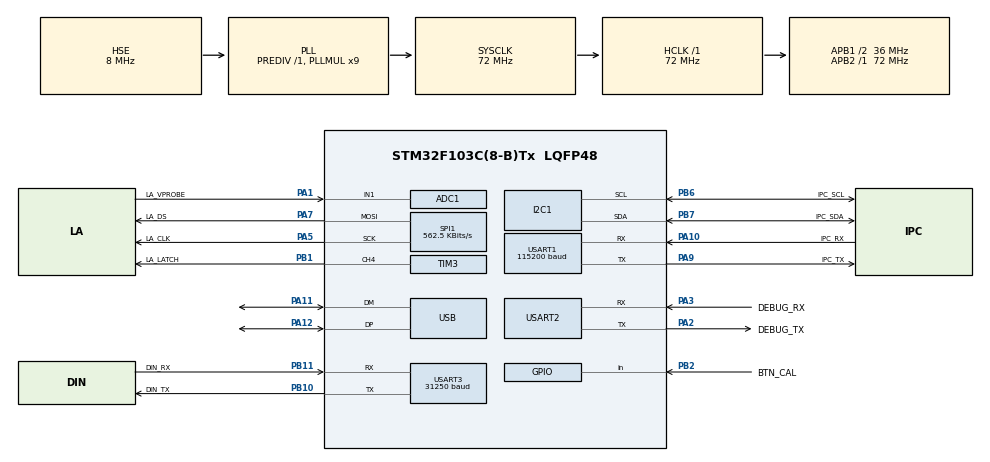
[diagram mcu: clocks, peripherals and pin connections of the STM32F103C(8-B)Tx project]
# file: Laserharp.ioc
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ADC1.Channel-6\#ChannelRegularConversion=ADC_CHANNEL_1
ADC1.NbrOfConversion=1
ADC1.NbrOfConversionFlag=1
ADC1.Rank-6\#ChannelRegularConversion=1
ADC1.SamplingTime-6\#ChannelRegularConversion=ADC_SAMPLETIME_71CYCLES_5
ADC1.master=1
Dma.Request0=TIM3_CH4/UP
Dma.TIM3_CH4/UP.0.Direction=DMA_MEMORY_TO_PERIPH
Dma.TIM3_CH4/UP.0.Instance=DMA1_Channel3
Dma.TIM3_CH4/UP.0.MemDataAlignment=DMA_MDATAALIGN_HALFWORD
Dma.TIM3_CH4/UP.0.MemInc=DMA_MINC_ENABLE
Dma.TIM3_CH4/UP.0.Mode=DMA_CIRCULAR
Dma.TIM3_CH4/UP.0.PeriphDataAlignment=DMA_PDATAALIGN_HALFWORD
Dma.TIM3_CH4/UP.0.PeriphInc=DMA_PINC_DISABLE
Dma.TIM3_CH4/UP.0.Priority=DMA_PRIORITY_HIGH
FREERTOS.BinarySemaphores01=printfSemaphore,Dynamic,NULL
FREERTOS.Events01=globalStatus,Dynamic,NULL
FREERTOS.Queues01=usbRxData,32,midi_packet_t,0,Dynamic,NULL,NULL;ipcRxData,32,ipc_packet_t,0,Dynamic,NULL,NULL
FREERTOS.Tasks01=defaultTask,16,256,StartDefaultTask,Default,NULL,Dynamic,NULL,NULL;usbReceiveTask,24,128,StartUsbReceiveTask,Default,NULL,Dynamic,NULL,NULL;ipcReceiveTask,24,128,StartIpcReceiveTask,Default,NULL,Dynamic,NULL,NULL;buttonTask,16,128,StartButtonTask,Default,NULL,Dynamic,NULL,NULL
FREERTOS.configTICK_RATE_HZ=1000
FREERTOS.configTOTAL_HEAP_SIZE=8192
FREERTOS.configUSE_PREEMPTION=1
Mcu.Family=STM32F1
Mcu.Name=STM32F103C(8-B)Tx
Mcu.Package=LQFP48
Mcu.UserConstants=HUART_DEBUG,huart2;HUART_DIN,huart3;LA_TRANSFER_PRESCALAR,128;HUART_IPC,huart1;LA_FADE_TICK_RATE,30
NVIC.DMA1_Channel3_IRQn=true\:5\:0\:false\:false\:true\:true\:false\:true\:true
NVIC.PriorityGroup=NVIC_PRIORITYGROUP_4
NVIC.TIM1_UP_IRQn=true\:15\:0\:false\:false\:true\:false\:false\:true\:true
NVIC.TIM2_IRQn=true\:5\:0\:false\:false\:true\:true\:true\:true\:true
NVIC.TimeBase=TIM1_UP_IRQn
NVIC.TimeBaseIP=TIM1
NVIC.USART1_IRQn=true\:5\:0\:false\:false\:true\:true\:true\:true\:true
NVIC.USART2_IRQn=true\:5\:0\:false\:false\:true\:true\:true\:true\:true
NVIC.USART3_IRQn=true\:5\:0\:false\:false\:true\:true\:true\:true\:true
NVIC.USB_LP_CAN1_RX0_IRQn=true\:5\:0\:false\:false\:true\:true\:false\:true\:true
PA1.GPIO_Label=LA_VPROBE
PA1.Signal=ADCx_IN1
PA10.GPIO_Label=IPC_RX
PA10.Mode=Asynchronous
PA10.Signal=USART1_RX
PA11.Mode=Device
PA11.Signal=USB_DM
PA12.Mode=Device
PA12.Signal=USB_DP
PA13.Mode=Serial_Wire
PA13.Signal=SYS_JTMS-SWDIO
PA14.Mode=Serial_Wire
PA14.Signal=SYS_JTCK-SWCLK
PA2.GPIO_Label=DEBUG_TX
PA2.Mode=Asynchronous
PA2.Signal=USART2_TX
PA3.GPIO_Label=DEBUG_RX
PA3.Mode=Asynchronous
PA3.Signal=USART2_RX
PA5.GPIO_Label=LA_CLK
PA5.Mode=TX_Only_Simplex_Unidirect_Master
PA5.Signal=SPI1_SCK
PA7.GPIO_Label=LA_DS
PA7.Mode=TX_Only_Simplex_Unidirect_Master
PA7.Signal=SPI1_MOSI
PA9.GPIO_Label=IPC_TX
PA9.Mode=Asynchronous
PA9.Signal=USART1_TX
PB1.GPIO_Label=LA_LATCH
PB1.Signal=S_TIM3_CH4
PB10.GPIO_Label=DIN_TX
PB10.Mode=Asynchronous
PB10.Signal=USART3_TX
PB11.GPIO_Label=DIN_RX
PB11.Mode=Asynchronous
PB11.Signal=USART3_RX
PB2.GPIO_Label=BTN_CAL
PB2.Signal=GPIO_Input
PB6.GPIO_Label=IPC_SCL
PB6.Mode=I2C
PB6.Signal=I2C1_SCL
PB7.GPIO_Label=IPC_SDA
PB7.Mode=I2C
PB7.Signal=I2C1_SDA
PD0-OSC_IN.Mode=HSE-External-Oscillator
PD0-OSC_IN.Signal=RCC_OSC_IN
PD1-OSC_OUT.Mode=HSE-External-Oscillator
PD1-OSC_OUT.Signal=RCC_OSC_OUT
ProjectManager.HeapSize=0x400
ProjectManager.StackSize=0x800
ProjectManager.TargetToolchain=Makefile
RCC.ADCPresc=RCC_ADCPCLK2_DIV6
RCC.AHBFreq_Value=72000000
RCC.APB1CLKDivider=RCC_HCLK_DIV2
RCC.APB1Freq_Value=36000000
RCC.APB1TimFreq_Value=72000000
RCC.APB2Freq_Value=72000000
RCC.APB2TimFreq_Value=72000000
RCC.HCLKFreq_Value=72000000
RCC.PLLMUL=RCC_PLL_MUL9
RCC.PLLSourceVirtual=RCC_PLLSOURCE_HSE
RCC.SYSCLKFreq_VALUE=72000000
RCC.SYSCLKSource=RCC_SYSCLKSOURCE_PLLCLK
RCC.USBFreq_Value=48000000
RCC.USBPrescaler=RCC_USBCLKSOURCE_PLL_DIV1_5
SH.ADCx_IN1.0=ADC1_IN1,IN1
SH.S_TIM3_CH4.0=TIM3_CH4,Output Compare4 CH4
SPI1.BaudRatePrescaler=SPI_BAUDRATEPRESCALER_128
SPI1.CalculateBaudRate=562.5 KBits/s
SPI1.DataSize=SPI_DATASIZE_16BIT
SPI1.Direction=SPI_DIRECTION_2LINES
SPI1.FirstBit=SPI_FIRSTBIT_MSB
SPI1.Mode=SPI_MODE_MASTER
SPI1.VirtualType=VM_MASTER
TIM2.Period=(10000 / LA_FADE_TICK_RATE) - 1
TIM2.Prescaler=7200 - 1
TIM3.Channel-Output\ Compare4\ CH4=TIM_CHANNEL_4
TIM3.OCMode_4=TIM_OCMODE_TOGGLE
TIM3.OCPolarity_4=TIM_OCPOLARITY_LOW
TIM3.Period=18 - 1
TIM3.Prescaler=LA_TRANSFER_PRESCALAR - 1
TIM3.TIM_MasterOutputTrigger=TIM_TRGO_UPDATE
USART1.BaudRate=115200
USART1.VirtualMode=VM_ASYNC
USART2.VirtualMode=VM_ASYNC
USART3.BaudRate=31250
USART3.VirtualMode=VM_ASYNC
USB_DEVICE.CLASS_NAME_FS=HID
USB_DEVICE.CONFIGURATION_STRING_HID_FS=MIDI Config
USB_DEVICE.INTERFACE_STRING_HID_FS=MIDI Interface
USB_DEVICE.LANGID_STRING=1033
USB_DEVICE.MANUFACTURER_STRING=Amon Benson
USB_DEVICE.PID_HID_FS=0xC0B0
USB_DEVICE.PRODUCT_STRING_HID_FS=Laser Harp
USB_DEVICE.VID=0x1209
USB_DEVICE.VirtualMode=Hid
USB_DEVICE.VirtualModeFS=Hid_FS
VP_FREERTOS_VS_CMSIS_V2.Mode=CMSIS_V2
VP_SYS_VS_tim1.Mode=TIM1
VP_TIM2_VS_ClockSourceINT.Mode=Internal
VP_TIM3_VS_ClockSourceINT.Mode=Internal
VP_USB_DEVICE_VS_USB_DEVICE_HID_FS.Mode=HID_FS
board=custom

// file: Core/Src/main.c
/* USER CODE BEGIN Header */
/**
 ******************************************************************************
 * @file           : main.c
 * @brief          : Main program body
 ******************************************************************************
 * @attention
 *
 * Copyright (c) 2024 STMicroelectronics.
 * All rights reserved.
 *
 * This software is licensed under terms that can be found in the LICENSE file
 * in the root directory of this software component.
 * If no LICENSE file comes with this software, it is provided AS-IS.
 *
 ******************************************************************************
 */
/* USER CODE END Header */
#include "main.h"
#include "cmsis_os.h"
#include "usb_device.h"

/* USER CODE BEGIN Includes */
#include "animation.h"
#include "drivers/ipc.h"
#include "drivers/laser_array.h"
#include "drivers/midi_usb.h"
#include "log.h"
#include "midi_types.h"
#include "stm32f1xx_hal_adc.h"
#include "usbd_midi.h"
#include <stdbool.h>
/* USER CODE END Includes */

ADC_HandleTypeDef hadc1;

I2C_HandleTypeDef hi2c1;

SPI_HandleTypeDef hspi1;

TIM_HandleTypeDef htim2;
TIM_HandleTypeDef htim3;
DMA_HandleTypeDef hdma_tim3_ch4_up;

UART_HandleTypeDef huart1;
UART_HandleTypeDef huart2;
UART_HandleTypeDef huart3;

/* Definitions for defaultTask */
osThreadId_t defaultTaskHandle;
const osThreadAttr_t defaultTask_attributes = {
    .name = "defaultTask",
    .stack_size = 256 * 4,
    .priority = (osPriority_t) osPriorityBelowNormal,
};
/* Definitions for usbReceiveTask */
osThreadId_t usbReceiveTaskHandle;
const osThreadAttr_t usbReceiveTask_attributes = {
    .name = "usbReceiveTask",
    .stack_size = 128 * 4,
    .priority = (osPriority_t) osPriorityNormal,
};
/* Definitions for ipcReceiveTask */
osThreadId_t ipcReceiveTaskHandle;
const osThreadAttr_t ipcReceiveTask_attributes = {
    .name = "ipcReceiveTask",
    .stack_size = 128 * 4,
    .priority = (osPriority_t) osPriorityNormal,
};
/* Definitions for buttonTask */
osThreadId_t buttonTaskHandle;
const osThreadAttr_t buttonTask_attributes = {
    .name = "buttonTask",
    .stack_size = 128 * 4,
    .priority = (osPriority_t) osPriorityBelowNormal,
};
/* Definitions for usbRxData */
osMessageQueueId_t usbRxDataHandle;
const osMessageQueueAttr_t usbRxData_attributes = { .name = "usbRxData" };
/* Definitions for ipcRxData */
osMessageQueueId_t ipcRxDataHandle;
const osMessageQueueAttr_t ipcRxData_attributes = { .name = "ipcRxData" };
/* Definitions for printfSemaphore */
osSemaphoreId_t printfSemaphoreHandle;
const osSemaphoreAttr_t printfSemaphore_attributes = { .name = "printfSemaphore" };
/* Definitions for globalStatus */
osEventFlagsId_t globalStatusHandle;
const osEventFlagsAttr_t globalStatus_attributes = { .name = "globalStatus" };
/* USER CODE BEGIN PV */
laser_array_t laser_array;
animator_t animator;

uint8_t stored_brightness[LA_NUM_DIODES];
/* USER CODE END PV */

void SystemClock_Config(void);
static void MX_GPIO_Init(void);
static void MX_DMA_Init(void);
static void MX_USART1_UART_Init(void);
static void MX_USART2_UART_Init(void);
static void MX_USART3_UART_Init(void);
static void MX_SPI1_Init(void);
static void MX_TIM2_Init(void);
static void MX_TIM3_Init(void);
static void MX_I2C1_Init(void);
static void MX_ADC1_Init(void);
void StartDefaultTask(void *argument);
void StartUsbReceiveTask(void *argument);
void StartIpcReceiveTask(void *argument);
void StartButtonTask(void *argument);

/* USER CODE BEGIN PFP */
int _write(int file, char *ptr, int len);
void USBD_MIDI_DataInHandler(uint8_t *usb_rx_buffer, uint8_t usb_rx_buffer_length);
/* USER CODE END PFP */

/* USER CODE BEGIN 0 */
int _write(int file, char *ptr, int len) {
    osSemaphoreAcquire(printfSemaphoreHandle, osWaitForever);
    HAL_UART_Transmit(&huart2, (uint8_t *) ptr, len, 0xFFFF);
    osSemaphoreRelease(printfSemaphoreHandle);

    return len;
}

static bool is_btn_cal_pressed(void) {
    return HAL_GPIO_ReadPin(BTN_CAL_GPIO_Port, BTN_CAL_Pin) == GPIO_PIN_RESET;
}
#define BTN_STATES 3

// void HAL_UARTEx_RxEventCallback(UART_HandleTypeDef *huart, uint16_t Size) {
//     ipc_driver_HAL_UARTEx_RxEventCallback(huart, Size);
// }

void HAL_UART_RxCpltCallback(UART_HandleTypeDef *huart) {
    ipc_driver_HAL_UART_RxCpltCallback(huart);
}
/* USER CODE END 0 */

int main(void) {

    /* MCU Configuration--------------------------------------------------------*/

    /* Reset of all peripherals, Initializes the Flash interface and the Systick. */
    HAL_Init();

    /* Configure the system clock */
    SystemClock_Config();

    /* Initialize all configured peripherals */
    MX_GPIO_Init();
    MX_DMA_Init();
    MX_USART1_UART_Init();
    MX_USART2_UART_Init();
    MX_USART3_UART_Init();
    MX_SPI1_Init();
    MX_TIM2_Init();
    MX_TIM3_Init();
    MX_I2C1_Init();
    MX_ADC1_Init();

    /* Init scheduler */
    osKernelInitialize();

    /* Create the semaphores(s) */
    /* creation of printfSemaphore */
    printfSemaphoreHandle = osSemaphoreNew(1, 0, &printfSemaphore_attributes);

    /* USER CODE BEGIN RTOS_SEMAPHORES */
    osSemaphoreRelease(printfSemaphoreHandle);
    /* USER CODE END RTOS_SEMAPHORES */

    /* Create the queue(s) */
    /* creation of usbRxData */
    usbRxDataHandle = osMessageQueueNew(32, sizeof(midi_packet_t), &usbRxData_attributes);

    /* creation of ipcRxData */
    ipcRxDataHandle = osMessageQueueNew(32, sizeof(ipc_packet_t), &ipcRxData_attributes);

    /* Create the thread(s) */
    /* creation of defaultTask */
    defaultTaskHandle = osThreadNew(StartDefaultTask, NULL, &defaultTask_attributes);

    /* creation of usbReceiveTask */
    usbReceiveTaskHandle = osThreadNew(StartUsbReceiveTask, NULL, &usbReceiveTask_attributes);

    /* creation of ipcReceiveTask */
    ipcReceiveTaskHandle = osThreadNew(StartIpcReceiveTask, NULL, &ipcReceiveTask_attributes);

    /* creation of buttonTask */
    buttonTaskHandle = osThreadNew(StartButtonTask, NULL, &buttonTask_attributes);

    /* Create the event(s) */
    /* creation of globalStatus */
    globalStatusHandle = osEventFlagsNew(&globalStatus_attributes);

    /* USER CODE BEGIN RTOS_EVENTS */

    // initialize drivers
    midi_usb_driver_init(usbRxDataHandle);
    ipc_driver_init(&huart1, ipcRxDataHandle);

    const laser_array_config_t laser_array_config = {
        .hspi = &hspi1,
        .htim_transfer = &htim3,
        .htim_fade = &htim2,
        .rclk_channel = TIM_CHANNEL_4,
    };
    laser_array_init(&laser_array, &laser_array_config);

    // initialize animator (note: the boot animation is started in the default task)
    const animator_config_t animator_config = {
        .laser_array = &laser_array,
    };
    animator_init(&animator, &animator_config);
    /* USER CODE END RTOS_EVENTS */

    /* Start scheduler */
    osKernelStart();

    /* We should never get here as control is now taken by the scheduler */
    /* Infinite loop */
    while (1) {

    }
}

void SystemClock_Config(void) {
    RCC_OscInitTypeDef RCC_OscInitStruct = { 0 };
    RCC_ClkInitTypeDef RCC_ClkInitStruct = { 0 };
    RCC_PeriphCLKInitTypeDef PeriphClkInit = { 0 };

    /** Initializes the RCC Oscillators according to the specified parameters
     * in the RCC_OscInitTypeDef structure.
     */
    RCC_OscInitStruct.OscillatorType = RCC_OSCILLATORTYPE_HSE;
    RCC_OscInitStruct.HSEState = RCC_HSE_ON;
    RCC_OscInitStruct.HSEPredivValue = RCC_HSE_PREDIV_DIV1;
    RCC_OscInitStruct.HSIState = RCC_HSI_ON;
    RCC_OscInitStruct.PLL.PLLState = RCC_PLL_ON;
    RCC_OscInitStruct.PLL.PLLSource = RCC_PLLSOURCE_HSE;
    RCC_OscInitStruct.PLL.PLLMUL = RCC_PLL_MUL9;
    if (HAL_RCC_OscConfig(&RCC_OscInitStruct) != HAL_OK) {
        Error_Handler();
    }

    /** Initializes the CPU, AHB and APB buses clocks
     */
    RCC_ClkInitStruct.ClockType = RCC_CLOCKTYPE_HCLK | RCC_CLOCKTYPE_SYSCLK | RCC_CLOCKTYPE_PCLK1 | RCC_CLOCKTYPE_PCLK2;
    RCC_ClkInitStruct.SYSCLKSource = RCC_SYSCLKSOURCE_PLLCLK;
    RCC_ClkInitStruct.AHBCLKDivider = RCC_SYSCLK_DIV1;
    RCC_ClkInitStruct.APB1CLKDivider = RCC_HCLK_DIV2;
    RCC_ClkInitStruct.APB2CLKDivider = RCC_HCLK_DIV1;

    if (HAL_RCC_ClockConfig(&RCC_ClkInitStruct, FLASH_LATENCY_2) != HAL_OK) {
        Error_Handler();
    }
    PeriphClkInit.PeriphClockSelection = RCC_PERIPHCLK_ADC | RCC_PERIPHCLK_USB;
    PeriphClkInit.AdcClockSelection = RCC_ADCPCLK2_DIV6;
    PeriphClkInit.UsbClockSelection = RCC_USBCLKSOURCE_PLL_DIV1_5;
    if (HAL_RCCEx_PeriphCLKConfig(&PeriphClkInit) != HAL_OK) {
        Error_Handler();
    }
}

static void MX_ADC1_Init(void) {

    ADC_ChannelConfTypeDef sConfig = { 0 };

    /** Common config
     */
    hadc1.Instance = ADC1;
    hadc1.Init.ScanConvMode = ADC_SCAN_DISABLE;
    hadc1.Init.ContinuousConvMode = DISABLE;
    hadc1.Init.DiscontinuousConvMode = DISABLE;
    hadc1.Init.ExternalTrigConv = ADC_SOFTWARE_START;
    hadc1.Init.DataAlign = ADC_DATAALIGN_RIGHT;
    hadc1.Init.NbrOfConversion = 1;
    if (HAL_ADC_Init(&hadc1) != HAL_OK) {
        Error_Handler();
    }

    /** Configure Regular Channel
     */
    sConfig.Channel = ADC_CHANNEL_1;
    sConfig.Rank = ADC_REGULAR_RANK_1;
    sConfig.SamplingTime = ADC_SAMPLETIME_71CYCLES_5;
    if (HAL_ADC_ConfigChannel(&hadc1, &sConfig) != HAL_OK) {
        Error_Handler();
    }
}

static void MX_I2C1_Init(void) {

    hi2c1.Instance = I2C1;
    hi2c1.Init.ClockSpeed = 100000;
    hi2c1.Init.DutyCycle = I2C_DUTYCYCLE_2;
    hi2c1.Init.OwnAddress1 = 0;
    hi2c1.Init.AddressingMode = I2C_ADDRESSINGMODE_7BIT;
    hi2c1.Init.DualAddressMode = I2C_DUALADDRESS_DISABLE;
    hi2c1.Init.OwnAddress2 = 0;
    hi2c1.Init.GeneralCallMode = I2C_GENERALCALL_DISABLE;
    hi2c1.Init.NoStretchMode = I2C_NOSTRETCH_DISABLE;
    if (HAL_I2C_Init(&hi2c1) != HAL_OK) {
        Error_Handler();
    }
}

static void MX_SPI1_Init(void) {

    /* SPI1 parameter configuration*/
    hspi1.Instance = SPI1;
    hspi1.Init.Mode = SPI_MODE_MASTER;
    hspi1.Init.Direction = SPI_DIRECTION_2LINES;
    hspi1.Init.DataSize = SPI_DATASIZE_16BIT;
    hspi1.Init.CLKPolarity = SPI_POLARITY_LOW;
    hspi1.Init.CLKPhase = SPI_PHASE_1EDGE;
    hspi1.Init.NSS = SPI_NSS_SOFT;
    hspi1.Init.BaudRatePrescaler = SPI_BAUDRATEPRESCALER_128;
    hspi1.Init.FirstBit = SPI_FIRSTBIT_MSB;
    hspi1.Init.TIMode = SPI_TIMODE_DISABLE;
    hspi1.Init.CRCCalculation = SPI_CRCCALCULATION_DISABLE;
    hspi1.Init.CRCPolynomial = 10;
    if (HAL_SPI_Init(&hspi1) != HAL_OK) {
        Error_Handler();
    }
}

static void MX_TIM2_Init(void) {

    TIM_ClockConfigTypeDef sClockSourceConfig = { 0 };
    TIM_MasterConfigTypeDef sMasterConfig = { 0 };

    htim2.Instance = TIM2;
    htim2.Init.Prescaler = 7200 - 1;
    htim2.Init.CounterMode = TIM_COUNTERMODE_UP;
    htim2.Init.Period = (10000 / LA_FADE_TICK_RATE) - 1;
    htim2.Init.ClockDivision = TIM_CLOCKDIVISION_DIV1;
    htim2.Init.AutoReloadPreload = TIM_AUTORELOAD_PRELOAD_DISABLE;
    if (HAL_TIM_Base_Init(&htim2) != HAL_OK) {
        Error_Handler();
    }
    sClockSourceConfig.ClockSource = TIM_CLOCKSOURCE_INTERNAL;
    if (HAL_TIM_ConfigClockSource(&htim2, &sClockSourceConfig) != HAL_OK) {
        Error_Handler();
    }
    sMasterConfig.MasterOutputTrigger = TIM_TRGO_RESET;
    sMasterConfig.MasterSlaveMode = TIM_MASTERSLAVEMODE_DISABLE;
    if (HAL_TIMEx_MasterConfigSynchronization(&htim2, &sMasterConfig) != HAL_OK) {
        Error_Handler();
    }
}

static void MX_TIM3_Init(void) {

    TIM_ClockConfigTypeDef sClockSourceConfig = { 0 };
    TIM_MasterConfigTypeDef sMasterConfig = { 0 };
    TIM_OC_InitTypeDef sConfigOC = { 0 };

    htim3.Instance = TIM3;
    htim3.Init.Prescaler = LA_TRANSFER_PRESCALAR - 1;
    htim3.Init.CounterMode = TIM_COUNTERMODE_UP;
    htim3.Init.Period = 18 - 1;
    htim3.Init.ClockDivision = TIM_CLOCKDIVISION_DIV1;
    htim3.Init.AutoReloadPreload = TIM_AUTORELOAD_PRELOAD_DISABLE;
    if (HAL_TIM_Base_Init(&htim3) != HAL_OK) {
        Error_Handler();
    }
    sClockSourceConfig.ClockSource = TIM_CLOCKSOURCE_INTERNAL;
    if (HAL_TIM_ConfigClockSource(&htim3, &sClockSourceConfig) != HAL_OK) {
        Error_Handler();
    }
    if (HAL_TIM_OC_Init(&htim3) != HAL_OK) {
        Error_Handler();
    }
    sMasterConfig.MasterOutputTrigger = TIM_TRGO_UPDATE;
    sMasterConfig.MasterSlaveMode = TIM_MASTERSLAVEMODE_DISABLE;
    if (HAL_TIMEx_MasterConfigSynchronization(&htim3, &sMasterConfig) != HAL_OK) {
        Error_Handler();
    }
    sConfigOC.OCMode = TIM_OCMODE_TOGGLE;
    sConfigOC.Pulse = 0;
    sConfigOC.OCPolarity = TIM_OCPOLARITY_LOW;
    sConfigOC.OCFastMode = TIM_OCFAST_DISABLE;
    if (HAL_TIM_OC_ConfigChannel(&htim3, &sConfigOC, TIM_CHANNEL_4) != HAL_OK) {
        Error_Handler();
    }
    HAL_TIM_MspPostInit(&htim3);
}

static void MX_USART1_UART_Init(void) {

    huart1.Instance = USART1;
    huart1.Init.BaudRate = 115200;
    huart1.Init.WordLength = UART_WORDLENGTH_8B;
    huart1.Init.StopBits = UART_STOPBITS_1;
    huart1.Init.Parity = UART_PARITY_NONE;
    huart1.Init.Mode = UART_MODE_TX_RX;
    huart1.Init.HwFlowCtl = UART_HWCONTROL_NONE;
    huart1.Init.OverSampling = UART_OVERSAMPLING_16;
    if (HAL_UART_Init(&huart1) != HAL_OK) {
        Error_Handler();
    }
}

static void MX_USART2_UART_Init(void) {

    huart2.Instance = USART2;
    huart2.Init.BaudRate = 115200;
    huart2.Init.WordLength = UART_WORDLENGTH_8B;
    huart2.Init.StopBits = UART_STOPBITS_1;
    huart2.Init.Parity = UART_PARITY_NONE;
    huart2.Init.Mode = UART_MODE_TX_RX;
    huart2.Init.HwFlowCtl = UART_HWCONTROL_NONE;
    huart2.Init.OverSampling = UART_OVERSAMPLING_16;
    if (HAL_UART_Init(&huart2) != HAL_OK) {
        Error_Handler();
    }
}

static void MX_USART3_UART_Init(void) {

    huart3.Instance = USART3;
    huart3.Init.BaudRate = 31250;
    huart3.Init.WordLength = UART_WORDLENGTH_8B;
    huart3.Init.StopBits = UART_STOPBITS_1;
    huart3.Init.Parity = UART_PARITY_NONE;
    huart3.Init.Mode = UART_MODE_TX_RX;
    huart3.Init.HwFlowCtl = UART_HWCONTROL_NONE;
    huart3.Init.OverSampling = UART_OVERSAMPLING_16;
    if (HAL_UART_Init(&huart3) != HAL_OK) {
        Error_Handler();
    }
}

static void MX_DMA_Init(void) {

    /* DMA controller clock enable */
    __HAL_RCC_DMA1_CLK_ENABLE();

    /* DMA interrupt init */
    /* DMA1_Channel3_IRQn interrupt configuration */
    HAL_NVIC_SetPriority(DMA1_Channel3_IRQn, 5, 0);
    HAL_NVIC_EnableIRQ(DMA1_Channel3_IRQn);
}

static void MX_GPIO_Init(void) {
    GPIO_InitTypeDef GPIO_InitStruct = { 0 };

    /* GPIO Ports Clock Enable */
    __HAL_RCC_GPIOD_CLK_ENABLE();
    __HAL_RCC_GPIOA_CLK_ENABLE();
    __HAL_RCC_GPIOB_CLK_ENABLE();

    /*Configure GPIO pin : BTN_CAL_Pin */
    GPIO_InitStruct.Pin = BTN_CAL_Pin;
    GPIO_InitStruct.Mode = GPIO_MODE_INPUT;
    GPIO_InitStruct.Pull = GPIO_NOPULL;
    HAL_GPIO_Init(BTN_CAL_GPIO_Port, &GPIO_InitStruct);

}

void StartDefaultTask(void *argument) {
    /* init code for USB_DEVICE */
    MX_USB_DEVICE_Init();
    /* USER CODE BEGIN 5 */

    printf("\n\n\n");
    LOG_INFO("Laserharp Firmware version %s", FIRMWARE_VERSION_STR);
    LOG_INFO("Created by Amon Benson");
    LOG_INFO("Compiled on %s at %s", __DATE__, __TIME__);

    // enable all lasers on startup
    for (uint8_t i = 0; i < LA_NUM_DIODES; i++) {
        laser_array_set_brightness(&laser_array, i, LA_NUM_BRIGHTNESS_LEVELS - 1);
    }

    // play the boot animation
    animator_play(&animator, ANIMATION_BOOT, ANIMATION_BOOT_SPEED, ANIMATION_LOOP);

    for (;;) {
        // update the animator. Assume a fixed time step of 20ms
        animator_update(&animator, 0.02);

        // check if we need to restore the stored brightness values. This will happen at the end of an animation if the
        // follow_action was set to ANIMATION_STOP_RESTORE
        if (animator_is_restore_required(&animator)) {
            for (uint8_t i = 0; i < LA_NUM_DIODES; i++) {
                laser_array_set_brightness(&laser_array, i, stored_brightness[i]);
            }
        }

        osDelay(20);
    }
    /* USER CODE END 5 */
}

void StartUsbReceiveTask(void *argument) {
    /* USER CODE BEGIN StartUsbReceiveTask */
    midi_packet_t packet;

    for (;;) {
        // wait for a packet to be received
        if (osMessageQueueGet(usbRxDataHandle, &packet, NULL, osWaitForever) != osOK) {
            LOG_ERROR("USB MIDI: Failed to get packet from usbRxData");
            continue;
        }

        // print the received packet
        LOG_TRACE("USB MIDI: Received packet: " MIDI_PACKET_FMT, MIDI_PACKET_FMT_ARGS(&packet));

        // forward the midi packet to the Raspberry Pi
        ipc_packet_t ipc_packet = { 0 };
        ipc_packet[0] = packet.cn_cin & 0xf0; // force cable number to 0
        ipc_packet[1] = packet.status;
        ipc_packet[2] = packet.data1;
        ipc_packet[3] = packet.data2;
        ipc_driver_transmit(&ipc_packet);
    }
    /* USER CODE END StartUsbReceiveTask */
}

/* USER CODE BEGIN Header_StartIpcReceiveTask */
static uint8_t ipc_velocity_to_brightness(uint8_t velocity) {
    return (uint8_t) ((uint32_t) velocity * (LA_NUM_BRIGHTNESS_LEVELS - 1) / 127);
}

static uint8_t ipc_brightness_to_velocity(uint8_t brightness) {
    return (uint8_t) ((uint32_t) brightness * 127 / (LA_NUM_BRIGHTNESS_LEVELS - 1));
}

/**
 * @brief Function implementing the ipcReceiveTask thread.
 * @param argument: Not used
 * @retval None
 */
/* USER CODE END Header_StartIpcReceiveTask */
void StartIpcReceiveTask(void *argument) {
    /* USER CODE BEGIN StartIpcReceiveTask */
    ipc_packet_t packet, response;

    for (;;) {
        // wait for a packet to be received
        if (osMessageQueueGet(ipcRxDataHandle, &packet, NULL, osWaitForever) != osOK) {
            LOG_ERROR("IPC: Failed to get packet from ipcRxData");
            continue;
        }

        // print the received packet
        LOG_TRACE("IPC: Received packet: " IPC_PACKET_FMT, IPC_PACKET_FMT_ARGS(&packet));

        // stop the intro animation when the first IPC packet is received
        if (animator_get_current_animation(&animator) == ANIMATION_BOOT && animator_is_playing(&animator)) {
            animator_stop(&animator);
        }

        uint8_t major_code = packet[0] & 0xF0;
        uint8_t code = packet[0];

        // initialize response
        response[0] = code;
        response[1] = 0;
        response[2] = 0;
        response[3] = 0;

        switch (major_code) {
            case 0x00: // forward USB midi out packet
                LOG_WARN("IPC: USB Midi Out not implemented");
                break;
            case 0x10: // forward DIN midi out packet
                LOG_WARN("IPC: Din Midi Out not implemented");
                break;
            default: // check full code
                switch (code) {
                    case 0x80: // set brightness of a single laser
                        LOG_DEBUG("IPC: Set brightness of laser %d", packet[1]);

                        // validate the parameters
                        if (packet[1] >= LA_NUM_DIODES) {
                            LOG_ERROR("IPC: Invalid laser number %d", packet[1]);
                            break;
                        }
                        if (packet[2] > 127) {
                            LOG_ERROR("IPC: Invalid brightness %d", packet[2]);
                            break;
                        }

                        // update the laser diode only if the animator is not playing
                        if (!animator_is_playing(&animator)) {
                            if (packet[3] == 0) {
                                laser_array_set_brightness(
                                    &laser_array, packet[1], ipc_velocity_to_brightness(packet[2]));
                            } else {
                                laser_array_fade_brightness(&laser_array, packet[1],
                                    ipc_velocity_to_brightness(packet[2]), (uint32_t) packet[3] * 100);
                            }
                        }

                        // store the brightness value
                        stored_brightness[packet[1]] = packet[2];
                        break;
                    case 0x81: // set brightness of multiple lasers
                        LOG_DEBUG("IPC: Set brightness of all lasers");

                        // validate the parameters
                        if (packet[1] > 127) {
                            LOG_ERROR("IPC: Invalid brightness %d", packet[1]);
                            break;
                        }

                        // update all laser diodes at once. Again, skip if the animator is playing
                        for (uint8_t i = 0; i < LA_NUM_DIODES; i++) {
                            if (!animator_is_playing(&animator)) {
                                if (packet[2] == 0) {
                                    laser_array_set_brightness(&laser_array, i, ipc_velocity_to_brightness(packet[1]));
                                } else {
                                    laser_array_fade_brightness(&laser_array, i, ipc_velocity_to_brightness(packet[1]),
                                        (uint32_t) packet[2] * 100);
                                }
                            }

                            stored_brightness[i] = packet[1];
                        }
                        break;
                    case 0x82: // get brightness of a single laser
                        LOG_DEBUG("IPC: Get brightness of laser %d", packet[1]);
                        response[1] = packet[1];
                        response[2] = ipc_brightness_to_velocity(laser_array_get_brightness(&laser_array, packet[1]));
                        ipc_driver_transmit(&response);
                        break;
                    case 0x83: // play animation
                        LOG_DEBUG("IPC: Play animation %d", packet[1]);
                        animator_play(&animator, packet[1], packet[2] * 0.1f, packet[3]);
                        break;
                    case 0x84: // stop animation
                        LOG_DEBUG("IPC: Stop animation");
                        animator_stop(&animator);
                        break;
                    case 0x91: // get voltage
                        LOG_DEBUG("IPC: Get voltage");
                        if (packet[1] == 0) {
                            // poll the ADC for a voltage. This will not run very often, so blocking is fine
                            HAL_ADCEx_Calibration_Start(&hadc1);
                            HAL_ADC_Start(&hadc1);

                            HAL_ADC_PollForConversion(&hadc1, HAL_MAX_DELAY);
                            uint32_t measurement_raw = HAL_ADC_GetValue(&hadc1);

                            HAL_ADC_Stop(&hadc1);

                            float measurement_voltage = measurement_raw * 3.3f / 4095;
                            float converted_voltage = measurement_voltage * (220 + 330) / 330; // voltage divider

                            response[2] = (uint8_t) converted_voltage;
                            response[3] = (uint8_t) ((converted_voltage - response[2]) * 100);
                        } else {
                            // currently only one voltage can be measured
                            response[2] = 0;
                            response[3] = 0;
                        }
                        ipc_driver_transmit(&response);
                    case 0xf0: // firmware version inquiry
                        LOG_DEBUG("IPC: Firmware version inquiry");
                        response[1] = FIRMWARE_VERSION_MAJOR;
                        response[2] = FIRMWARE_VERSION_MINOR;
                        response[3] = FIRMWARE_VERSION_PATCH;
                        ipc_driver_transmit(&response);
                        break;
                    case 0xf1: // reboot
                        LOG_INFO("IPC: Rebooting");
                        NVIC_SystemReset();
                        break;
                    case 0xf2: // enter standby
                        LOG_INFO("IPC: Entering standby");

                        // play the boot animation
                        animator_play(&animator, ANIMATION_BOOT, ANIMATION_BOOT_SPEED, ANIMATION_LOOP);

                        // sleep for the specified delay
                        osDelay(packet[1] * 100);

                        // fade all lasers to zero brightness
                        animator_stop(&animator);
                        for (uint8_t i = 0; i < LA_NUM_DIODES; i++) {
                            laser_array_fade_brightness(&laser_array, i, 0, (uint32_t) packet[2] * 100);
                        }

                        // wait until the fade is complete
                        osDelay(packet[2] * 100 + 100);

                        // enter standby mode
                        // __HAL_PWR_CLEAR_FLAG(PWR_FLAG_WU); // clear the wake-up flag
                        // HAL_PWR_EnterSTANDBYMode(); // enter standby mode
                        // while (1) { } // should never reach here

                        // clear the ipcRxData queue so that messages received during standby are not processed
                        osMessageQueueReset(ipcRxDataHandle);

                        break;
                    default:
                        LOG_ERROR("IPC: Unknown command %02X", code);
                        break;
                }
        }
    }
    /* USER CODE END StartIpcReceiveTask */
}

void StartButtonTask(void *argument) {
    /* USER CODE BEGIN StartButtonTask */
    uint32_t num_states = 3;
    uint8_t btn_pattern[3];

    /* Infinite loop */
    for (;;) {
        // reset the button pattern
        for (uint32_t i = 0; i < num_states; i++) {
            btn_pattern[i] = 'X';
        }

        for (uint32_t i = 0; i < num_states; i++) {
            // wait until button is pressed
            while (!is_btn_cal_pressed()) {
                osDelay(20);
            }

            // wait if the button gets released within the duration of a short press
            bool released = false;
            for (int i = 0; i < BTN_CAL_SHORT_PRESS_DURATION / 20; i++) {
                osDelay(20);
                if (!is_btn_cal_pressed()) {
                    released = true;
                    break;
                }
            }

            // register the button press
            if (released) {
                btn_pattern[i] = 'S';
            } else {
                btn_pattern[i] = 'L';

                // // wait until the button is released
                // while (is_btn_cal_pressed()) {
                //     osDelay(20);
                // }

                // break the outer loop as a long press ends the sequence
                break;
            }

            // check if the button gets pressed again within the duration of a short press
            bool pressed_again = false;
            for (int i = 0; i < BTN_CAL_SHORT_PRESS_DURATION / 20; i++) {
                osDelay(20);
                if (is_btn_cal_pressed()) {
                    pressed_again = true;
                    break;
                }
            }

            // if the button was not pressed again, break the outer loop
            if (!pressed_again) {
                break;
            }
        }

        // send the button pattern to the ipc
        LOG_TRACE("Button pattern: %d %d %d", btn_pattern[0], btn_pattern[1], btn_pattern[2]);
        ipc_packet_t packet = { 0 };
        packet[0] = 0x90;
        packet[1] = btn_pattern[0];
        packet[2] = btn_pattern[1];
        packet[3] = btn_pattern[2];
        ipc_driver_transmit(&packet);

        // wait until button is released for at least the duration of a short press
        bool released = false;
        int i = 0;
        while (!released) {
            osDelay(20);

            if (!is_btn_cal_pressed()) {
                i++;
            } else {
                i = 0;
            }

            if (i >= BTN_CAL_SHORT_PRESS_DURATION / 20) {
                released = true;
            }
        }
    }
    /* USER CODE END StartButtonTask */
}

void HAL_TIM_PeriodElapsedCallback(TIM_HandleTypeDef *htim) {
    if (htim->Instance == TIM1) {
        HAL_IncTick();
    }
    /* USER CODE BEGIN Callback 1 */
    if (htim->Instance == laser_array.config.htim_fade->Instance) {
        laser_array_fade_TIM_PeriodElapsedHandler(&laser_array);
    }
    /* USER CODE END Callback 1 */
}

void Error_Handler(void) {
    __disable_irq();
    while (1) { }
}
